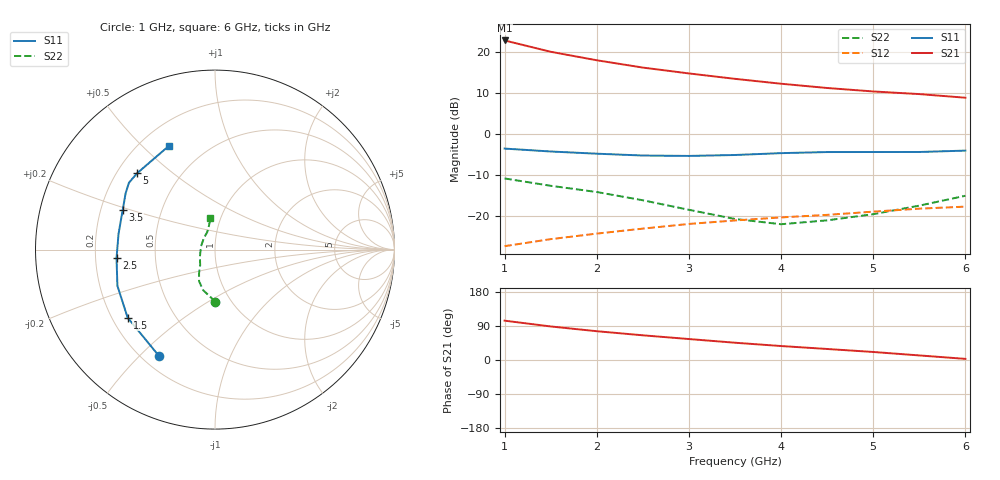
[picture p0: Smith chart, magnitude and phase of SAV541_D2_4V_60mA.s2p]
! Created Mon Oct 27 14:49:32 2008
# hz S ma R 50
! 2 Port Network Data from SP1.SP block
! freq  magS11  angS11  magS21  angS21  magS12  angS12  magS22  angS22
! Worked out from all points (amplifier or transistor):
!   11 points, 1 GHz to 6 GHz, reference 50 ohm
!   highest |S21| = 22.9 dB at 1 GHz (marker M1)
!   |S21| within 3 dB of that: start of sweep to 1.558 GHz
!   unconditionally stable (mu >= 1): 3.501 GHz to end of sweep
!   at 1.5 GHz: K = 0.68, MSG = 22.8 dB, |S12| = -25.6 dB
!   at 3.5 GHz: K = 1.00, MSG = 17.3 dB, |S12| = -21.0 dB
!   at 6 GHz: K = 1.08, MAG = 11.6 dB, |S12| = -17.6 dB
!   S11 on the Smith chart (normalised r, x): 1 GHz: 0.27, -0.57; 1.5 GHz: 0.26, -0.32; 2.5 GHz: 0.29, -0.04; 3.5 GHz: 0.29, +0.19; 5 GHz: 0.28, +0.38; 6 GHz: 0.31, +0.60
1e9  0.6693 -117.9  13.92 103.8  0.04327 43.3  0.2894 -89.7
1.5e9  0.6169 -142.1  10.13 88.5  0.05271 39.2  0.2356 -106.3
2e9  0.58 -159.6  7.982 76.0  0.06159 35.8  0.1978 -116.7
2.5e9  0.5507 -175.0  6.501 65.2  0.07083 33.2  0.1569 -124.4
3e9  0.5447 170.6  5.515 55.3  0.08072 30.4  0.12 -133.5
3.5e9  0.559 157.0  4.739 45.6  0.08908 25.9  0.09285 -154.8
4e9  0.589 147.7  4.131 36.9  0.09697 21.8  0.0801 167.4
4.5e9  0.6072 142.2  3.665 29.1  0.1042 18.0  0.08931 134.2
5e9  0.6077 135.6  3.326 21.2  0.114 14.4  0.1062 114.2
5.5e9  0.6084 125.3  3.089 12.1  0.124 9.2  0.135 104.7
6e9  0.6324 113.9  2.79 3.0  0.1313 3.5  0.1781 98.2
